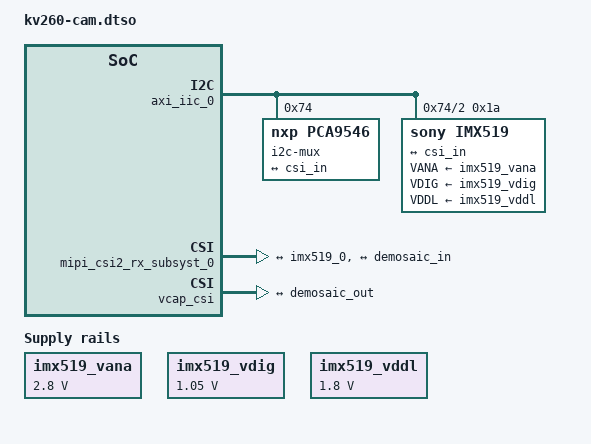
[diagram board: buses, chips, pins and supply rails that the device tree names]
/dts-v1/;
/plugin/;

/*
 * KV260 RPi-cam pipeline, IMX519 variant.
 *
 * Deltas from the IMX219 version (all confirmed against
 * raspberrypi/linux rpi-6.6.y imx519.c + overlays/imx519.dtsi):
 *
 *   sensor I2C addr        0x10  -> 0x1a
 *   compatible             sony,imx219 -> sony,imx519
 *   link-frequencies       456000000 -> 493500000   (987 Mbps/lane)
 *                          -- value is driver-branch specific, see below
 *   VDIG rail              1.8V -> 1.05V per the driver's own comment
 *                          (cosmetic; these are fixed dummy regulators)
 *
 * MODULE VARIANT: this tree targets the MANUAL FOCUS M12 module
 * (Arducam B0449 class -- "16MP IMX519 with 122/140 deg (D) wide angle
 * M12 lens"), NOT the B0371 autofocus module. There is no AK7375 VCM on
 * this board, so the ak7375@c node that earlier revisions carried has
 * been REMOVED rather than merely disabled. Arducam's own Raspberry Pi
 * instructions for this SKU say to boot it as `dtoverlay=imx519,vcm=off`,
 * which is the same statement in RPi form.
 *
 * The sensor side is otherwise byte-identical to the AF module: same
 * die, same 0x1a address, same driver, same register set. Manual vs
 * autofocus is a lens-assembly difference only. If you put an AF module
 * on this board the tree still works -- you just get no focus control.
 *
 * Unchanged and deliberately so:
 *   xlnx,csi-pxl-format = 0x2b   IMX519 is RAW10 in every mode
 *   data-lanes = <1 2>           the RPi driver rejects anything but 2
 *   xclk 24 MHz                  IMX519_XCLK_FREQ, same as IMX219
 *   xlnx,max-width/height        baked into the bitstream at 1920x1080
 *
 * NOTE the D-PHY in this bitstream is synthesised for C_HS_LINE_RATE=912
 * (the IMX219's 456 MHz x2). On 5.15 the IMX519 runs 987, i.e. ABOVE the
 * configured rate rather than below it. T_HS_SETTLE is not the worry --
 * the receive windows overlap almost completely (91.1-155.1 ns at 987 vs
 * 91.6-156.0 ns at 912) -- but running a soft D-PHY 8% faster than the
 * rate it was configured and timed for is a genuine watch item, unlike
 * the 816 case on 6.6. If you see ECC/CRC errors from the CSI2RX rather
 * than the SLBF stall, this is the first suspect. DPY_EN_REG_IF is true
 * in this design, so HS_SETTLE is writable at runtime in the D-PHY
 * register bank. See PORTING-IMX519.md.
 */

&fpga_full {
    firmware-name = "kv260-cam.bit.bin";
    resets = <&zynqmp_reset 0x74>;
};

&amba {
    #address-cells = <2>;
    #size-cells = <2>;

    clocking0: clocking0 {
        #clock-cells = <0>;
        compatible = "xlnx,fclk";
        clocks = <&zynqmp_clk 71>;
        assigned-clocks = <&zynqmp_clk 71>;
        /*
         * 142857142 = 999999990 / 7, and that is not a typo or a stale
         * value -- it is the only thing this clock tree can produce near
         * 150 MHz. pl0 is fed from RPLL at 999999990 through integer
         * dividers, so the reachable rates are 125.000 (/8), 142.857 (/7),
         * 166.667 (/6), 200.000 (/5). Asking for 150 gets silently
         * rounded back to 142.857; verified on hardware via clk_summary.
         *
         * The "pl_clk0 is now 149.998505 MHz" claim in the old capture.sh
         * is therefore wrong, and the block design's
         * PSU__CRL_APB__PL0_REF_CTRL__FREQMHZ {150} is a request the PS
         * cannot honour. Do not "fix" this number upward expecting an
         * effect; the only real step up is /6 = 166.667 MHz, which is an
         * 11% overclock on a design closed at 150.
         */
        assigned-clock-rates = <142857142>;
        clock-output-names = "fabric_clk";
    };

    clocking1: clocking1 {
        #clock-cells = <0>;
        compatible = "xlnx,fclk";
        clocks = <&zynqmp_clk 72>;
        assigned-clocks = <&zynqmp_clk 72>;
        assigned-clock-rates = <199999998>;
        clock-output-names = "fabric_clk";
    };

    imx519_clk: imx519_clk {
        #clock-cells = <0>;
        compatible = "fixed-clock";
        clock-frequency = <24000000>;
    };

    imx519_vana: imx519_vana {
        compatible = "regulator-fixed";
        regulator-name = "imx519_vana";
        regulator-min-microvolt = <2800000>;
        regulator-max-microvolt = <2800000>;
    };

    imx519_vdig: imx519_vdig {
        compatible = "regulator-fixed";
        regulator-name = "imx519_vdig";
        regulator-min-microvolt = <1050000>;
        regulator-max-microvolt = <1050000>;
    };

    imx519_vddl: imx519_vddl {
        compatible = "regulator-fixed";
        regulator-name = "imx519_vddl";
        regulator-min-microvolt = <1800000>;
        regulator-max-microvolt = <1800000>;
    };

    axi_iic_0: i2c@a0010000 {
        compatible = "xlnx,axi-iic-2.1", "xlnx,xps-iic-2.00.a";
        reg = <0x0 0xa0010000 0x0 0x10000>;
        clocks = <&zynqmp_clk 71>;
        clock-names = "s_axi_aclk";
        interrupt-parent = <&gic>;
        interrupts = <0 89 4>;
        #address-cells = <1>;
        #size-cells = <0>;

        i2c-mux@74 {
            compatible = "nxp,pca9546";
            reg = <0x74>;
            #address-cells = <1>;
            #size-cells = <0>;

            i2c@0 { reg = <0>; #address-cells = <1>; #size-cells = <0>; };
            i2c@1 { reg = <1>; #address-cells = <1>; #size-cells = <0>; };

            i2c@2 {
                reg = <2>;
                #address-cells = <1>;
                #size-cells = <0>;

                imx519: sensor@1a {
                    compatible = "sony,imx519";
                    reg = <0x1a>;
                    clocks = <&imx519_clk>;
                    clock-names = "xclk";
                    VANA-supply = <&imx519_vana>;
                    VDIG-supply = <&imx519_vdig>;
                    VDDL-supply = <&imx519_vddl>;

                    /*
                     * Leave these at 0. The RPi driver derives its
                     * Bayer code from HFLIP/VFLIP, and the demosaic
                     * sink pad in capture.sh is hardcoded SRGGB10.
                     * Flip the sensor and you must flip that too.
                     */
                    rotation = <0>;
                    orientation = <2>;

                    port {
                        imx519_0: endpoint {
                            remote-endpoint = <&csi_in>;
                            data-lanes = <1 2>;
                            clock-noncontinuous;
                            /*
                             * MUST equal the driver's own
                             * IMX519_DEFAULT_LINK_FREQ or probe fails with
                             * "Link frequency not supported". That constant
                             * is NOT stable across branches:
                             *   rpi-5.15.y -> 493500000  (987 Mbps/lane)
                             *   rpi-6.6.y  -> 408000000  (816 Mbps/lane)
                             * This board runs 5.15, hence 493.5 MHz. If you
                             * ever move the driver to a 6.6 kernel, change
                             * this line at the same time.
                             */
                            link-frequencies = /bits/ 64 <493500000>;
                        };
                    };
                };

                /*
                 * NO VCM NODE HERE, DELIBERATELY.
                 *
                 * The autofocus IMX519 modules carry an AK7375 VCM at
                 * 0x0c and need a separate ak7375 subdev plus a
                 * `lens-focus` phandle, because imx519.c has no focus
                 * control of its own (grep it: zero hits for vcm, focus
                 * or lens). The manual-focus M12 module has no VCM at
                 * all -- focus is the lens barrel thread, set by hand.
                 *
                 * `i2cdetect -y -r <bus>` on mux leg 2 should show 0x1a
                 * and NOTHING at 0x0c. If 0x0c answers, you have an
                 * autofocus module, and you want the AF branch of this
                 * tree instead -- the image will otherwise sit at
                 * whatever focus position the VCM powers up to, which
                 * is usually near-field and looks like a soft pipeline.
                 * 0x50, if present, is the module ID EEPROM; nothing
                 * here reads it.
                 */
            };

            i2c@3 { reg = <3>; #address-cells = <1>; #size-cells = <0>; };
        };
    };

    mipi_csi2_rx_subsyst_0: mipi_csi2_rx_subsystem@a0020000 {
        compatible = "xlnx,mipi-csi2-rx-subsystem-5.0";
        reg = <0x0 0xa0020000 0x0 0x2000>;

        interrupt-parent = <&gic>;
        interrupts = <0 90 4>;

        xlnx,csi-pxl-format = <0x2b>;   /* RAW10 -- IMX519 is RAW10 in all modes */
        xlnx,vfb;

        clock-names = "lite_aclk", "video_aclk";
        clocks = <&zynqmp_clk 71>, <&zynqmp_clk 71>;

        ports {
            #address-cells = <1>;
            #size-cells = <0>;

            port@0 {
                reg = <0>;
                csi_in: endpoint {
                    remote-endpoint = <&imx519_0>;
                    data-lanes = <1 2>;
                };
            };

            port@1 {
                reg = <1>;
                csi_out: endpoint {
                    remote-endpoint = <&demosaic_in>;
                };
            };
        };
    };

    v_demosaic_0: v_demosaic@a0030000 {
        compatible = "xlnx,v-demosaic";
        reg = <0x0 0xa0030000 0x0 0x10000>;
        reset-gpios = <&gpio 80 1>;

        clocks = <&zynqmp_clk 71>;
        clock-names = "ap_clk";

        /*
         * Hard ceiling from the bitstream: v_demosaic and v_frmbuf_wr
         * are both synthesised MAX_COLS=1920 MAX_ROWS=1080. That rules
         * out the IMX519's 4656x3496, 3840x2160 and 2328x1748 modes.
         * Only 1920x1080 and 1280x720 are reachable without a rebuild.
         *
         * WITH A WIDE-ANGLE LENS THIS COSTS FIELD OF VIEW, NOT JUST
         * PIXELS. The driver's mode table takes each mode from a
         * different ANALOGUE CROP of the array:
         *   1920x1080 <- 3840x2160 crop, 2x2 binned  (82.5% of width)
         *   1280x720  <- 2560x1440 crop, 2x2 binned  (55.0% of width)
         * so 720p is a ~1.5x tele crop relative to 1080p and throws
         * away most of what the M12 wide lens was bought for.
         * 2328x1748 is the only sub-4656 mode cropped from the FULL
         * array, which makes it the right rebuild target here. See the
         * Field of view section in README.md.
         */
        xlnx,max-width = <1920>;
        xlnx,max-height = <1080>;

        ports {
            #address-cells = <1>;
            #size-cells = <0>;

            port@0 {
                reg = <0>;
                xlnx,video-width = <10>;
                demosaic_in: endpoint {
                    remote-endpoint = <&csi_out>;
                };
            };

            port@1 {
                reg = <1>;
                xlnx,video-width = <10>;
                demosaic_out: endpoint {
                    remote-endpoint = <&vcap_csi_in>;
                };
            };
        };
    };

    v_frmbuf_wr_0: v_frmbuf_wr@a0000000 {
        compatible = "xlnx,v-frmbuf-wr-3.1", "xlnx,v-frmbuf-wr-v3.0", "xlnx,axi-frmbuf-wr-v2.2";
        reg = <0x0 0xa0000000 0x0 0x10000>;
        #dma-cells = <1>;
        interrupt-parent = <&gic>;
        interrupt-names = "interrupt";
        interrupts = <0 104 4>;
        clocks = <&zynqmp_clk 71>;
        clock-names = "ap_clk";
        reset-gpios = <&gpio 79 1>;
        xlnx,dma-addr-width = <32>;
        xlnx,dma-align = <8>;
        xlnx,pixels-per-clock = <1>;
        xlnx,vid-formats = "rgb888";

        xlnx,max-width = <1920>;
        xlnx,max-height = <1080>;
        xlnx,max-nr-planes = <1>;
    };

    vcap_csi: vcap_csi {
        compatible = "xlnx,video";
        dmas = <&v_frmbuf_wr_0 0>;
        dma-names = "port0";

        ports {
            #address-cells = <1>;
            #size-cells = <0>;

            port@0 {
                reg = <0>;
                direction = "input";
                vcap_csi_in: endpoint {
                    remote-endpoint = <&demosaic_out>;
                };
            };
        };
    };
};
